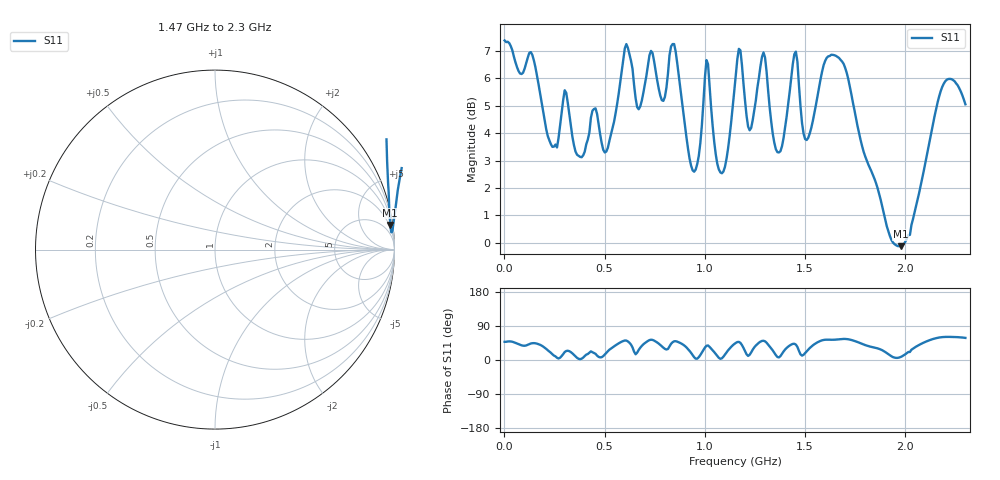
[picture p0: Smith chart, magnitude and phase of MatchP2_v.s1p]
# Hz S RI R 50.000000
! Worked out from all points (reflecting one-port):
!   300 points, 1 MHz to 2.3 GHz, reference 50 ohm
!   lowest |S11| = -0.1 dB at 1.977 GHz (marker M1), VSWR 143.26, Z = 71 + j708 ohm
!   phase of S11 starts at 48 deg and turns +10 deg over the sweep
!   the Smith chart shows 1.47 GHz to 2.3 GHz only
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1000000  1.568 1.738
1.470903e8  1.534 1.51
2.701137e8  1.55 0.1073
2.931806e8  1.756 0.4856
4.854047e8  1.508 0.1971
5.776722e8  1.355 1.418
6.161171e8  1.487 1.714
6.545619e8  1.774 0.4786
7.314515e8  1.334 1.8
8.006522e8  1.608 0.9062
8.46786e8  1.503 1.749
8.698528e8  1.381 1.473
9.544314e8  1.358 0.0827
1.008254e9  1.709 1.314
1.077455e9  1.343 0.0739
1.154344e9  1.432 1.434
1.177411e9  1.58 1.596
1.215856e9  1.601 0.3044
1.292746e9  1.408 1.724
1.369635e9  1.452 0.1742
1.438836e9  1.562 1.432
1.48497e9  1.621 0.3308
1.600304e9  1.279 1.726
1.731017e9  1.128 1.489
1.977064e9  0.9765 0.1372
2.015508e9  0.9642 0.373
2.184666e9  0.9519 1.675
2.3e9  0.9396 1.524
